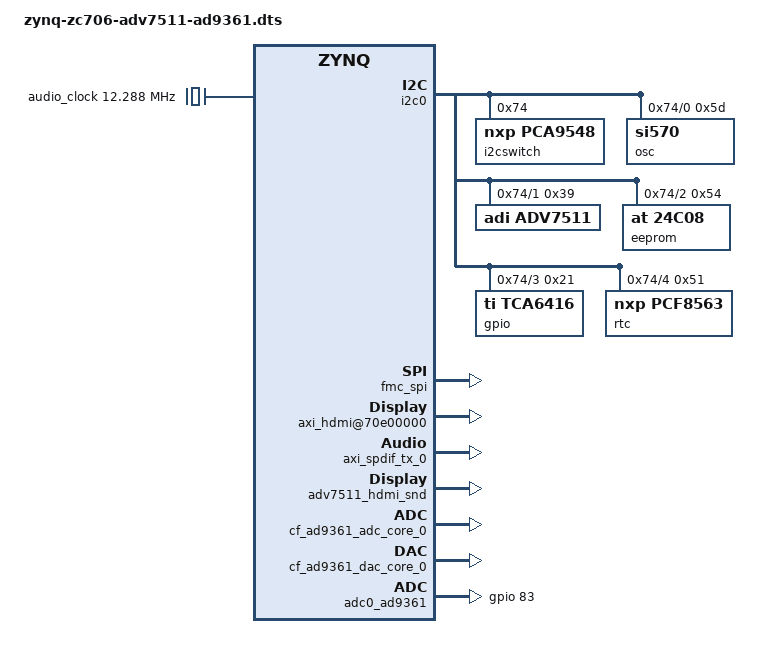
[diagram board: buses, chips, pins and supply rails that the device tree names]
/dts-v1/;

/include/ "zynq-zc706.dtsi"

/ {

	fpga_axi: fpga-axi@0 {
		compatible = "simple-bus";
		#address-cells = <0x1>;
		#size-cells = <0x1>;
		ranges;

		i2c0: i2c@0 {
			compatible = "xlnx,axi-iic-1.02.a", "xlnx,xps-iic-2.00.a";
			interrupt-parent = <&gic>;
			interrupts = <0 58 4>;
			reg = <0x41600000 0x10000>;
			#address-cells = <1>;
			#size-cells = <0>;

			i2cswitch@74 {
				compatible = "nxp,pca9548";
				#address-cells = <1>;
				#size-cells = <0>;
				reg = <0x74>;

				i2c@0 {
					#address-cells = <1>;
					#size-cells = <0>;
					reg = <0>;
					osc@5d {
						compatible = "si570";
						reg = <0x5d>;
						factory-fout = <156250000>;
						initial-fout = <148500000>;
					};
				};

				i2c@1 {
				    #address-cells = <1>;
				    #size-cells = <0>;
				    reg = <1>;

				    adv7511: adv7511 {
						compatible = "adi,adv7511";
						reg = <0x39>;

						adi,input-id = <0x00>;
						adi,input-style = <0x01>;
						adi,bit-justification = <0x00>;
						adi,input-color-depth = <0x3>;
						adi,sync-pulse = <0x03>;
						adi,up-conversion = <0x00>;
						adi,timing-generation-sequence = <0x00>;
						adi,vsync-polarity = <0x02>;
						adi,hsync-polarity = <0x02>;
						adi,tdms-clock-inversion;
						adi,clock-delay = <0x03>;
				    };
				};

				i2c@2 {
					#address-cells = <1>;
					#size-cells = <0>;
					reg = <2>;
					eeprom@54 {
						compatible = "at,24c08";
						reg = <0x54>;
					};
				};

				i2c@3 {
					#address-cells = <1>;
					#size-cells = <0>;
					reg = <3>;
					gpio@21 {
						compatible = "ti,tca6416";
						reg = <0x21>;
						gpio-controller;
						#gpio-cells = <2>;
					};
				};

				i2c@4 {
					#address-cells = <1>;
					#size-cells = <0>;
					reg = <4>;
					rtc@54 {
						compatible = "nxp,pcf8563";
						reg = <0x51>;
					};
				};

				fmc_i2c: i2c@6 {
					#size-cells = <0>;
					#address-cells = <1>;
					reg = <6>;
				};
			};
		};

		fmc_spi: spi@e0006000 {
			bus-num = <1>;
			compatible = "xlnx,ps7-spi-1.00.a";
			interrupt-parent = <&gic>;
			interrupts = < 0 26 4 >;
			clock-names = "ref_clk", "aper_clk";
			clocks = <&clkc 25>, <&clkc 34>;
			num-chip-select = <4>;
			reg = < 0xe0006000 0x1000 >;
			speed-hz = <100000000>;
			xlnx,has-ss0 = <0x1>;
			xlnx,has-ss1 = <0x1>;
			xlnx,has-ss2 = <0x1>;
			xlnx,spi-clk-freq-hz = <100000000>;
			#address-cells = <1>;
			#size-cells = <0>;
		};

		axi_vdma_0: axivdma@43000000 {
			#address-cells = <1>;
			#size-cells = <1>;
			#dma-cells = <1>;
			compatible = "xlnx,axi-vdma";
			reg = <0x43000000 0x1000>;
			xlnx,include-sg = <0x0>;
			xlnx,num-fstores = <0x3>;
			dma-channel@43000000 {
				compatible = "xlnx,axi-vdma-mm2s-channel";
				interrupts = <0 59 0x4>;
				xlnx,datawidth = <0x40>;
				xlnx,genlock-mode = <0x0>;
				xlnx,include-dre = <0x0>;
			};
		};

		hdmi_clock: axi-clkgen@79000000 {
			compatible = "adi,axi-clkgen-2.00.a";
			reg = <0x79000000 0x10000>;
			#clock-cells = <0>;
			clocks = <&clkc 17>;
		};

		axi_hdmi@70e00000 {
			compatible = "adi,axi-hdmi-tx-1.00.a";
			reg = <0x70e00000 0x10000>;
			encoder-slave = <&adv7511>;
			dmas = <&axi_vdma_0 0>;
			dma-names = "video";
			clocks = <&hdmi_clock>;
			adi,is-rgb;
		};

		audio_clock: audio_clock {
			compatible = "fixed-clock";
			#clock-cells = <0>;
			clock-frequency = <12288000>;
		};

		axi_spdif_tx_0: axi-spdif-tx@0x75c00000 {
			compatible = "adi,axi-spdif-tx-1.00.a";
			reg = <0x75c00000 0x1000>;
			dmas = <&ps7_dma 0>;
			dma-names = "tx";
			clocks = <&clkc 17 &audio_clock>;
			clock-names = "axi", "spdif";
		};

		adv7511_hdmi_snd: adv7511_hdmi_snd {
			compatible = "adv7511-hdmi-snd";
			audio-codec = <&adv7511>;
			cpu-dai = <&axi_spdif_tx_0>;
		};

		rx_dma: dma@7c400000 {
			compatible = "adi,axi-dmac-1.00.a";
			reg = <0x7c400000 0x10000>;
			#dma-cells = <1>;
			interrupts = <0 57 0>;
			clocks = <&clkc 16>;

			dma-channel {
				adi,buswidth = <64>;
				adi,type = <0>;
			};
		};

		tx_dma: dma@7c420000 {
			compatible = "adi,axi-dmac-1.00.a";
			reg = <0x7c420000 0x10000>;
			#dma-cells = <1>;
			interrupts = <0 56 0>;
			clocks = <&clkc 16>;

			dma-channel {
				adi,buswidth = <64>;
				adi,type = <1>;
			};
		};

		cf_ad9361_adc_core_0: cf-ad9361-lpc@79020000 {
			compatible = "adi,axi-ad9361-6.00.a";
			reg = <0x79020000 0x6000>;
			dmas = <&rx_dma 0>;
			dma-names = "rx";
			spibus-connected = <&adc0_ad9361>;
			xlnx,dphase-timeout = <0x8>;
			xlnx,num-mem = <0x1>;
			xlnx,num-reg = <0x1>;
			xlnx,s-axi-min-size = <0x1ff>;
			xlnx,slv-awidth = <0x20>;
			xlnx,slv-dwidth = <0x20>;
			xlnx,use-wstrb = <0x0>;
		};

		cf_ad9361_dac_core_0: cf-ad9361-dds-core-lpc@79024000 {
			compatible = "xlnx,axi-ad9361-dds-6.00.a";
			reg = <0x79024000 0x1000>;

//			adi,axi-dds-rate = <1>; /* use 1 for 1RX1TX mode */
//			adi,axi-dds-1-rf-channel;

			clocks = <&adc0_ad9361 13>;
			clock-names = "sampl_clk";
			dmas = <&tx_dma 0>;
			dma-names = "tx";
			dac-sample-frequency = <491520000>;
			xlnx,dphase-timeout = <0x8>;
			xlnx,num-mem = <0x1>;
			xlnx,num-reg = <0x1>;
			xlnx,s-axi-min-size = <0x1ff>;
			xlnx,slv-awidth = <0x20>;
			xlnx,slv-dwidth = <0x20>;
			xlnx,use-wstrb = <0x0>;
		};
	};
};

/include/ "adi-fmcomms2.dtsi"

&adc0_ad9361 {
	gpios = <&gpio 83 0>;
};
